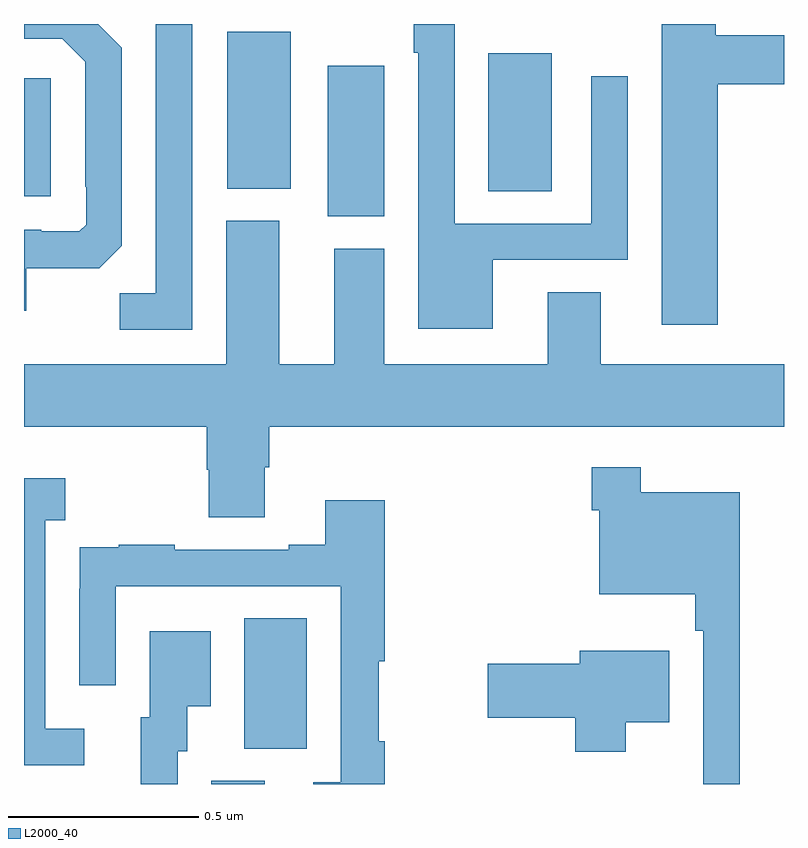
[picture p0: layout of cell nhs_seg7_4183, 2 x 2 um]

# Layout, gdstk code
import gdstk
lib = gdstk.Library(unit=1e-6, precision=1e-09)
def R(c, l, rs):  # rectangles x0, y0, x1, y1
    for r in rs: c.add(gdstk.rectangle(r[:2], r[2:], *l))
def P(c, l, *ps):  # polygons
    for p in ps: c.add(gdstk.Polygon(p, *l))
L2000_40 = (2000, 40)

nhs_seg7_4183 = lib.new_cell('nhs_seg7_4183')
R(nhs_seg7_4183, L2000_40, [(169.493,1009,169.633,1009.008), (169.58,1009.093,169.744,1009.436), (169.799,1010.494,169.948,1010.89), (169,1010.547,169.071,1010.857), (170.222,1010.56,170.389,1010.923), (169.535,1010.567,169.702,1010.98)])
P(nhs_seg7_4183, L2000_40, [(170.233,1010.379),(170.589,1010.379),(170.589,1010.863),(170.493,1010.863),(170.493,1010.475),(170.133,1010.475),(170.133,1011),(170.025,1011),(170.025,1010.924),(170.037,1010.924),(170.037,1010.198),(170.233,1010.198)],
  [(169.006,1010.357),(169.198,1010.357),(169.257,1010.416),(169.257,1010.938),(169.196,1011),(169,1011),(169,1010.961),(169.101,1010.961),(169.161,1010.901),(169.161,1010.572),(169.164,1010.572),(169.164,1010.472),(169.146,1010.454),(169.046,1010.454),(169.046,1010.458),(169,1010.458),(169,1010.246),(169.006,1010.246)],
  [(169.443,1011),(169.347,1011),(169.347,1010.291),(169.252,1010.291),(169.252,1010.196),(169.443,1010.196)],
  [(170.825,1010.842),(171,1010.842),(171,1010.971),(170.82,1010.971),(170.82,1011),(170.678,1011),(170.678,1010.208),(170.825,1010.208)],
  [(169.633,1009.834),(169.646,1009.834),(169.646,1009.94),(171,1009.94),(171,1010.104),(170.518,1010.104),(170.518,1010.294),(170.378,1010.294),(170.378,1010.104),(169.948,1010.104),(169.948,1010.409),(169.817,1010.409),(169.817,1010.104),(169.672,1010.104),(169.672,1010.482),(169.532,1010.482),(169.532,1010.104),(169,1010.104),(169,1009.94),(169.481,1009.94),(169.481,1009.827),(169.486,1009.827),(169.486,1009.702),(169.633,1009.702)],
  [(170.884,1009.768),(170.623,1009.768),(170.623,1009.834),(170.494,1009.834),(170.494,1009.721),(170.514,1009.721),(170.514,1009.499),(170.767,1009.499),(170.767,1009.403),(170.787,1009.403),(170.787,1009),(170.884,1009)],
  [(169.159,1009.146),(169.056,1009.146),(169.056,1009.694),(169.108,1009.694),(169.108,1009.804),(169,1009.804),(169,1009.05),(169.159,1009.05)],
  [(169.949,1009.112),(169.934,1009.112),(169.934,1009.323),(169.949,1009.323),(169.949,1009.747),(169.793,1009.747),(169.793,1009.63),(169.697,1009.63),(169.697,1009.617),(169.397,1009.617),(169.397,1009.63),(169.249,1009.63),(169.249,1009.623),(169.147,1009.623),(169.147,1009.514),(169.146,1009.514),(169.146,1009.26),(169.242,1009.26),(169.242,1009.521),(169.833,1009.521),(169.833,1009.005),(169.761,1009.005),(169.761,1009),(169.949,1009)],
  [(169.404,1009.086),(169.429,1009.086),(169.429,1009.205),(169.492,1009.205),(169.492,1009.402),(169.331,1009.402),(169.331,1009.176),(169.307,1009.176),(169.307,1009),(169.404,1009)],
  [(170.584,1009.163),(170.698,1009.163),(170.698,1009.351),(170.462,1009.351),(170.462,1009.316),(170.22,1009.316),(170.22,1009.174),(170.45,1009.174),(170.45,1009.085),(170.584,1009.085)])

lib.write_gds('nhs_seg7_4183.gds')
